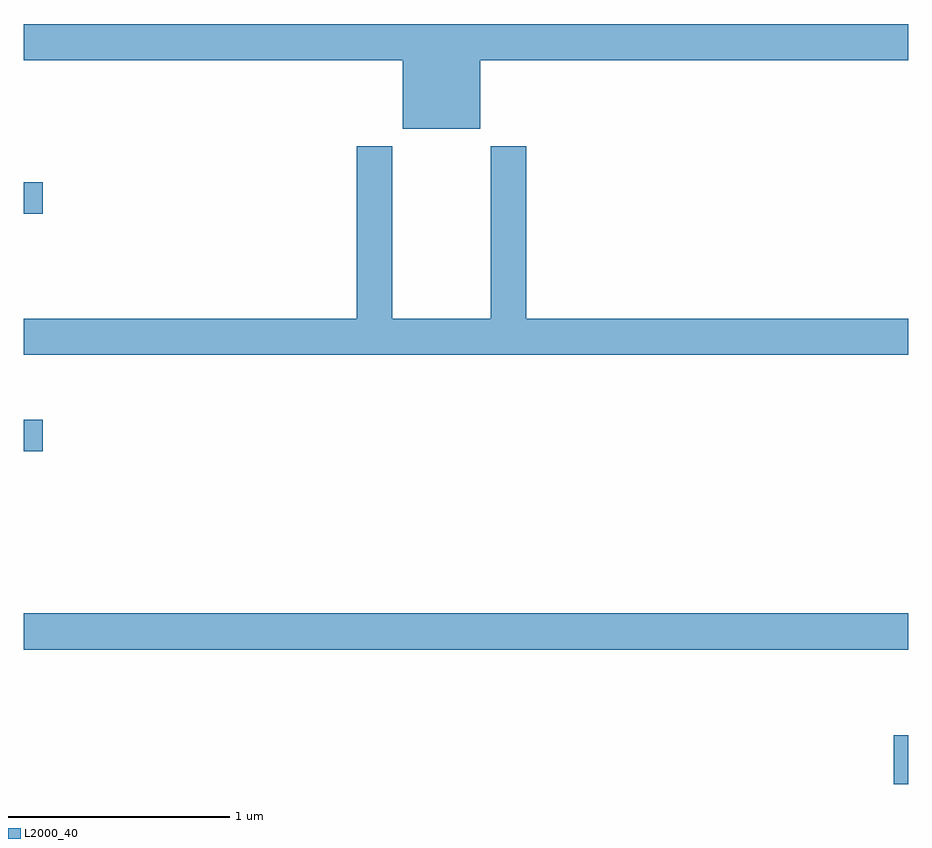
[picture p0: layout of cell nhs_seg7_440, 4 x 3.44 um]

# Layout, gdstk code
import gdstk
lib = gdstk.Library(unit=1e-6, precision=1e-09)
def R(c, l, rs):  # rectangles x0, y0, x1, y1
    for r in rs: c.add(gdstk.rectangle(r[:2], r[2:], *l))
def P(c, l, *ps):  # polygons
    for p in ps: c.add(gdstk.Polygon(p, *l))
L2000_40 = (2000, 40)

nhs_seg7_440 = lib.new_cell('nhs_seg7_440')
R(nhs_seg7_440, L2000_40, [(148.934,1008,149,1008.22), (145,1008.608,149,1008.772), (145,1009.505,145.087,1009.647), (145,1010.578,145.087,1010.72)])
P(nhs_seg7_440, L2000_40, [(147.064,1011.272),(149,1011.272),(149,1011.436),(145,1011.436),(145,1011.272),(146.714,1011.272),(146.714,1010.963),(147.064,1010.963)],
  [(149,1010.104),(147.272,1010.104),(147.272,1010.884),(147.112,1010.884),(147.112,1010.104),(146.667,1010.104),(146.667,1010.884),(146.507,1010.884),(146.507,1010.104),(145,1010.104),(145,1009.94),(149,1009.94)])

lib.write_gds('nhs_seg7_440.gds')
